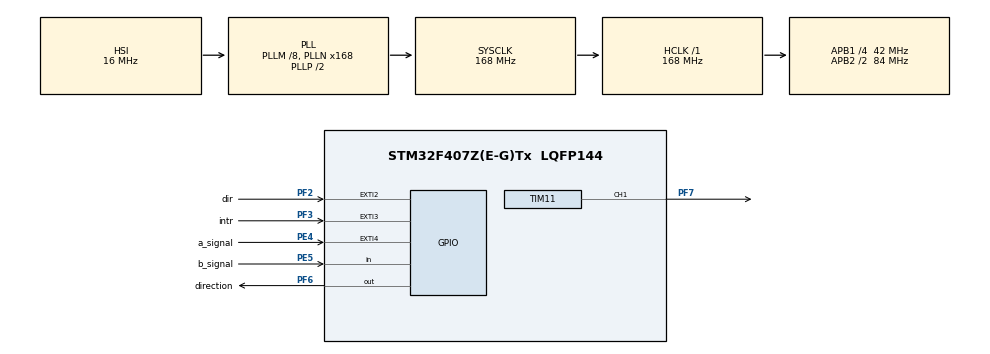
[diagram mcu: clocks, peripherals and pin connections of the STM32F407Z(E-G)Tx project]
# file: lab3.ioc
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Mcu.Family=STM32F4
Mcu.Name=STM32F407Z(E-G)Tx
Mcu.Package=LQFP144
NVIC.EXTI2_IRQn=true\:0\:0\:false\:false\:true\:true\:true\:true
NVIC.EXTI3_IRQn=true\:0\:0\:false\:false\:true\:true\:true\:true
NVIC.EXTI4_IRQn=true\:0\:0\:false\:false\:true\:true\:true\:true
NVIC.PriorityGroup=NVIC_PRIORITYGROUP_4
NVIC.TIM6_DAC_IRQn=true\:0\:0\:false\:false\:true\:true\:true\:true
NVIC.TIM7_IRQn=true\:0\:0\:false\:false\:true\:true\:true\:true
PA13.Mode=Serial_Wire
PA13.Signal=SYS_JTMS-SWDIO
PA14.Mode=Serial_Wire
PA14.Signal=SYS_JTCK-SWCLK
PE4.GPIO_Label=a_signal
PE4.Signal=GPXTI4
PE5.GPIO_Label=b_signal
PE5.Signal=GPIO_Input
PF2.GPIO_Label=dir
PF2.Signal=GPXTI2
PF3.GPIO_Label=intr
PF3.Signal=GPXTI3
PF6.GPIO_Label=direction
PF6.Signal=GPIO_Output
PF7.Signal=S_TIM11_CH1
ProjectManager.HeapSize=0x200
ProjectManager.StackSize=0x400
ProjectManager.TargetToolchain=STM32CubeIDE
RCC.48MHZClocksFreq_Value=84000000
RCC.AHBFreq_Value=168000000
RCC.APB1CLKDivider=RCC_HCLK_DIV4
RCC.APB1Freq_Value=42000000
RCC.APB1TimFreq_Value=84000000
RCC.APB2CLKDivider=RCC_HCLK_DIV2
RCC.APB2Freq_Value=84000000
RCC.APB2TimFreq_Value=168000000
RCC.CortexFreq_Value=168000000
RCC.HCLKFreq_Value=168000000
RCC.HSE_VALUE=8000000
RCC.HSI_VALUE=16000000
RCC.LSE_VALUE=32768
RCC.PLLM=8
RCC.PLLN=168
RCC.SYSCLKFreq_VALUE=168000000
RCC.SYSCLKSource=RCC_SYSCLKSOURCE_PLLCLK
RCC.VCOOutputFreq_Value=336000000
SH.S_TIM11_CH1.0=TIM11_CH1,PWM Generation1 CH1
TIM11.Channel=TIM_CHANNEL_1
TIM11.Period=399
TIM11.Prescaler=0
TIM6.Period=499
TIM6.Prescaler=8399
TIM6.TIM_MasterOutputTrigger=TIM_TRGO_UPDATE
TIM7.Period=9999
TIM7.Prescaler=83
TIM7.TIM_MasterOutputTrigger=TIM_TRGO_UPDATE
VP_TIM11_VS_ClockSourceINT.Mode=Enable_Timer
VP_TIM6_VS_ClockSourceINT.Mode=Enable_Timer
VP_TIM7_VS_ClockSourceINT.Mode=Enable_Timer
board=custom

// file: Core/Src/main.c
/* USER CODE BEGIN Header */
/**
  ******************************************************************************
  * @file           : main.c
  * @brief          : Main program body
  ******************************************************************************
  * @attention
  *
  * Copyright (c) 2023 STMicroelectronics.
  * All rights reserved.
  *
  * This software is licensed under terms that can be found in the LICENSE file
  * in the root directory of this software component.
  * If no LICENSE file comes with this software, it is provided AS-IS.
  *
  ******************************************************************************
  */
/* USER CODE END Header */
#include "main.h"
#include "tim.h"
#include "gpio.h"

/* USER CODE BEGIN PV */
uint16_t pulse_number = 0;
uint16_t rpm = 0;
uint16_t rpm1 = 0;
uint16_t rpm0 = 0;
uint16_t rpmp = 0;
uint16_t rpmn = 0;
float rpm_t = 0;
uint16_t steadyState = 0;
int pwm_low = 40;
int pwm_high = 70;
uint16_t K = 0;
uint16_t TAU_value = 0;
uint16_t direction = 0;
uint16_t position_pulse = 0;
uint16_t position = 0;
uint16_t pwm_DB = 0;
uint16_t tmp = 0;
uint16_t Tau_rpm =0;

typedef enum {S0, S1, S2, S3} STATE_T;
STATE_T state = S0;
//uint16_t dir_control = 0;
//uint16_t temp = 0;
/* USER CODE END PV */

void SystemClock_Config(void);

int main(void)
{

  /* MCU Configuration--------------------------------------------------------*/

  /* Reset of all peripherals, Initializes the Flash interface and the Systick. */
  HAL_Init();

  /* Configure the system clock */
  SystemClock_Config();

  /* Initialize all configured peripherals */
  MX_GPIO_Init();
  MX_TIM11_Init();
  MX_TIM7_Init();
  MX_TIM6_Init();
  /* USER CODE BEGIN 2 */
  HAL_TIM_Base_Start_IT(&htim7);
  HAL_TIM_PWM_Start(&htim11, TIM_CHANNEL_1);
  TIM11->PSC = 55;
  TIM11->ARR = 199;
  TIM11->CCR1 = 50;

  /* USER CODE END 2 */

  /* Infinite loop */
  /* USER CODE BEGIN WHILE */
  while (1)
  {
	  switch(state){
	  case S0:
		  TIM11->CCR1 = 1;
		  break;
	  case S1:
		  TIM11->CCR1 = 60;
		  HAL_Delay(1000);
		  pwm_DB = TIM11->CCR1;
		  rpm0 = rpm;
		  rpmn = rpm;
		  break;
	  case S2:
		  TIM11->CCR1 = 140;
		  HAL_Delay(1000);
		  rpm1 = rpm;
		  rpmp = rpmn;
		  rpmn = rpm;

		  K = (rpm1 - rpm0) / ((0.7f-0.3f) * 12);

		  if ((rpmn - rpmp) < 1 && (rpmn - rpmp) > -1 ){
			  steadyState = rpmn;
		  }

		  Tau_rpm = rpm0 +((rpm1-rpm0)*63)/100;

		  TIM11->CCR1 = 60;

		  __HAL_TIM_SET_COUNTER(&htim6,0);
		  HAL_TIM_Base_Start(&htim6);

		  while (rpm < Tau_rpm){

		  }
		  tmp = __HAL_TIM_GET_COUNTER(&htim6);
//		  TAU_value = (tmp*63)/100;
		  HAL_TIM_Base_Stop(&htim6);

//		  if (rpm > (1134 + rpm0)){
//			  TAU_value = __HAL_TIM_GET_COUNTER(&htim7);
//			  HAL_TIM_Base_Stop(&htim7);
//		  }

		  break;
	  case S3:
		  TIM11->CCR1 = 70;
		  break;
	  }
    /* USER CODE END WHILE */

  }
}

void SystemClock_Config(void)
{
  RCC_OscInitTypeDef RCC_OscInitStruct = {0};
  RCC_ClkInitTypeDef RCC_ClkInitStruct = {0};

  /** Configure the main internal regulator output voltage
  */
  __HAL_RCC_PWR_CLK_ENABLE();
  __HAL_PWR_VOLTAGESCALING_CONFIG(PWR_REGULATOR_VOLTAGE_SCALE1);

  /** Initializes the RCC Oscillators according to the specified parameters
  * in the RCC_OscInitTypeDef structure.
  */
  RCC_OscInitStruct.OscillatorType = RCC_OSCILLATORTYPE_HSI;
  RCC_OscInitStruct.HSIState = RCC_HSI_ON;
  RCC_OscInitStruct.HSICalibrationValue = RCC_HSICALIBRATION_DEFAULT;
  RCC_OscInitStruct.PLL.PLLState = RCC_PLL_ON;
  RCC_OscInitStruct.PLL.PLLSource = RCC_PLLSOURCE_HSI;
  RCC_OscInitStruct.PLL.PLLM = 8;
  RCC_OscInitStruct.PLL.PLLN = 168;
  RCC_OscInitStruct.PLL.PLLP = RCC_PLLP_DIV2;
  RCC_OscInitStruct.PLL.PLLQ = 4;
  if (HAL_RCC_OscConfig(&RCC_OscInitStruct) != HAL_OK)
  {
    Error_Handler();
  }

  /** Initializes the CPU, AHB and APB buses clocks
  */
  RCC_ClkInitStruct.ClockType = RCC_CLOCKTYPE_HCLK|RCC_CLOCKTYPE_SYSCLK
                              |RCC_CLOCKTYPE_PCLK1|RCC_CLOCKTYPE_PCLK2;
  RCC_ClkInitStruct.SYSCLKSource = RCC_SYSCLKSOURCE_PLLCLK;
  RCC_ClkInitStruct.AHBCLKDivider = RCC_SYSCLK_DIV1;
  RCC_ClkInitStruct.APB1CLKDivider = RCC_HCLK_DIV4;
  RCC_ClkInitStruct.APB2CLKDivider = RCC_HCLK_DIV2;

  if (HAL_RCC_ClockConfig(&RCC_ClkInitStruct, FLASH_LATENCY_5) != HAL_OK)
  {
    Error_Handler();
  }
}

/* USER CODE BEGIN 4 */
void HAL_TIM_PeriodElapsedCallback(TIM_HandleTypeDef *htim){
	if(htim -> Instance == TIM7){
		rpm = (pulse_number*6000)/1024 ;
		pulse_number = 0;
	}
}
void HAL_GPIO_EXTI_Callback(uint16_t GPIO_Pin){
	if(GPIO_Pin == a_signal_Pin){
		pulse_number++;

		if(HAL_GPIO_ReadPin(b_signal_GPIO_Port,b_signal_Pin) == GPIO_PIN_SET){
			direction = 1;
		}
		else {
			direction = 0;
		}
	}

	if(GPIO_Pin == GPIO_PIN_2){
//		HAL_GPIO_TogglePin(direction_GPIO_Port, direction_Pin);
//		if(dir_control == 0){
//			HAL_GPIO_WritePin(direction_GPIO_Port, direction_Pin, GPIO_PIN_SET);
//			dir_control = 1;
//		}
//		else{
//			HAL_GPIO_WritePin(direction_GPIO_Port, direction_Pin, GPIO_PIN_RESET);
//			dir_control = 0;
//		}
		if (state == S0){
			state = S1;
		}
		else if(state == S1){
			state = S2;
		}
		else if(state == S2){
			state = S3;
		}
		else{
			state = S0;
		}

	}
}
/* USER CODE END 4 */

void Error_Handler(void)
{
  __disable_irq();
  while (1)
  {
  }
}
